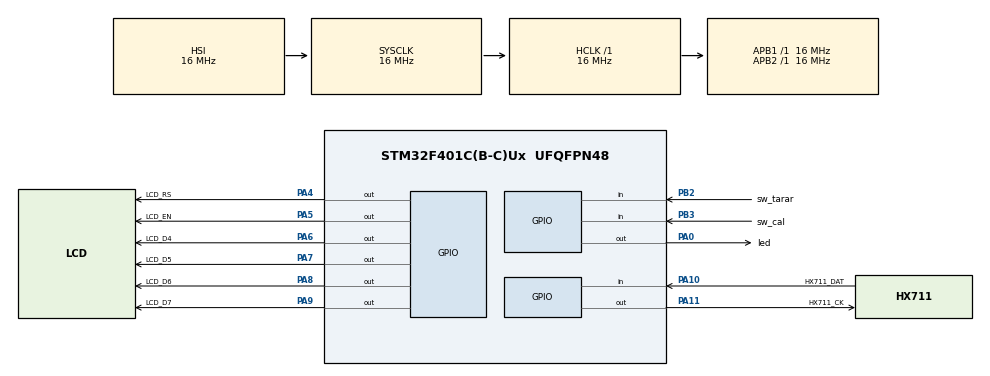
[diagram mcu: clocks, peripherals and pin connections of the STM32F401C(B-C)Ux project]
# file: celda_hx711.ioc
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Mcu.Family=STM32F4
Mcu.Name=STM32F401C(B-C)Ux
Mcu.Package=UFQFPN48
NVIC.PriorityGroup=NVIC_PRIORITYGROUP_4
PA0-WKUP.GPIO_Label=led
PA0-WKUP.Signal=GPIO_Output
PA10.GPIO_Label=HX711_DAT
PA10.GPIO_PuPd=GPIO_PULLUP
PA10.Signal=GPIO_Input
PA11.GPIO_Label=HX711_CK
PA11.Signal=GPIO_Output
PA4.GPIO_Label=LCD_RS
PA4.Signal=GPIO_Output
PA5.GPIO_Label=LCD_EN
PA5.Signal=GPIO_Output
PA6.GPIO_Label=LCD_D4
PA6.Signal=GPIO_Output
PA7.GPIO_Label=LCD_D5
PA7.Signal=GPIO_Output
PA8.GPIO_Label=LCD_D6
PA8.Signal=GPIO_Output
PA9.GPIO_Label=LCD_D7
PA9.Signal=GPIO_Output
PB2.GPIO_Label=sw_tarar
PB2.GPIO_PuPd=GPIO_PULLUP
PB2.Signal=GPIO_Input
PB3.GPIO_Label=sw_cal
PB3.GPIO_PuPd=GPIO_PULLUP
PB3.Signal=GPIO_Input
ProjectManager.HeapSize=0x200
ProjectManager.StackSize=0x400
ProjectManager.TargetToolchain=STM32CubeIDE
RCC.AHBFreq_Value=16000000
RCC.APB1Freq_Value=16000000
RCC.APB2Freq_Value=16000000
RCC.CortexFreq_Value=16000000
RCC.HSE_VALUE=25000000
RCC.HSI_VALUE=16000000
RCC.LSE_VALUE=32768
RCC.SYSCLKFreq_VALUE=16000000
RCC.VCOOutputFreq_Value=192000000
board=custom

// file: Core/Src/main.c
/* USER CODE BEGIN Header */
/**
  ******************************************************************************
  * @file           : main.c
  * @brief          : Main program body
  ******************************************************************************
  * @attention
  *
  * Copyright (c) 2023 STMicroelectronics.
  * All rights reserved.
  *
  * This software is licensed under terms that can be found in the LICENSE file
  * in the root directory of this software component.
  * If no LICENSE file comes with this software, it is provided AS-IS.
  *
  ******************************************************************************
  */
/* USER CODE END Header */
#include "main.h"

#include "lcd.h"
#include "HX711.h"

#include "stdio.h"
#include "string.h"

/* USER CODE BEGIN PV */
const float offset_manual=83877.0;  //offset, valor leido a 0
const float calibra=419387 - offset_manual;  // valor a la calobtracion menos el offset
//Cabiar este valor  importante al epso conocido
const float prueba=1000.0;  //  peso de prueba para calibración    gramos

float factor=prueba/calibra; //factor de multiplicativo a lectura base    debe colocarse aqui

int32_t offset=offset_manual;// carga el offset manual al offset a usar
int32_t celda=0;
float peso,cal;

char texto[50];

/* USER CODE END PV */

void SystemClock_Config(void);
static void MX_GPIO_Init(void);

int main(void)
{

  /* MCU Configuration--------------------------------------------------------*/

  /* Reset of all peripherals, Initializes the Flash interface and the Systick. */
  HAL_Init();

  /* Configure the system clock */
  SystemClock_Config();

  /* Initialize all configured peripherals */
  MX_GPIO_Init();
  /* USER CODE BEGIN 2 */
    HX711_init();  //inicia
	 HX_tarar(50,128);  //Tara el sistema automatico numero de datos, a que ganancia

    Lcd_Init();
      Lcd_Cmd(_LCD_CLEAR);
      Lcd_Cmd(_LCD_CURSOR_OFF);

      Lcd_Text(2,1,"PESO=");
       Lcd_Text(1, 1, "Offset=");
     sprintf(texto,"%.lf",(float)offset);
     Lcd_Text(1, 8,"       ");//borra
     Lcd_Text(1, 8,texto);

  /* USER CODE END 2 */

  /* Infinite loop */
  /* USER CODE BEGIN WHILE */
  while (1)
  {

		  peso=HX711_promedio(10,128)-offset;
		   peso=peso*factor;
		   if (peso<=0) peso=0;
	       sprintf(texto,"%.1f",peso);
	        Lcd_Text(2,7,"          ");//Borra
	        Lcd_Text(2,7,texto);//muestra el peso

	  //Titila led
		  HAL_GPIO_TogglePin(led_GPIO_Port, led_Pin);
	       HAL_Delay(100);

	         if(sw_tarar==0)
	            {
	             HAL_GPIO_WritePin(led_GPIO_Port, led_Pin, 0);
	             HAL_Delay(300);
	             HX_tarar(10,128);  //numero de datos, a que ganancia
	             sprintf(texto,"%.1f",(float)offset);
	             Lcd_Text(1,8,"       ");
	             Lcd_Text(1,8,texto);//muestra el offset

	            }

	           if (sw_cal==0)
	                  {
	                   HAL_GPIO_WritePin(led_GPIO_Port, led_Pin, 0);
	                  cal=HX711_promedio(50,128)-offset;
	                  factor= prueba/cal;

	                  }

    /* USER CODE END WHILE */

  }
}

void SystemClock_Config(void)
{
  RCC_OscInitTypeDef RCC_OscInitStruct = {0};
  RCC_ClkInitTypeDef RCC_ClkInitStruct = {0};

  /** Configure the main internal regulator output voltage
  */
  __HAL_RCC_PWR_CLK_ENABLE();
  __HAL_PWR_VOLTAGESCALING_CONFIG(PWR_REGULATOR_VOLTAGE_SCALE2);

  /** Initializes the RCC Oscillators according to the specified parameters
  * in the RCC_OscInitTypeDef structure.
  */
  RCC_OscInitStruct.OscillatorType = RCC_OSCILLATORTYPE_HSI;
  RCC_OscInitStruct.HSIState = RCC_HSI_ON;
  RCC_OscInitStruct.HSICalibrationValue = RCC_HSICALIBRATION_DEFAULT;
  RCC_OscInitStruct.PLL.PLLState = RCC_PLL_NONE;
  if (HAL_RCC_OscConfig(&RCC_OscInitStruct) != HAL_OK)
  {
    Error_Handler();
  }

  /** Initializes the CPU, AHB and APB buses clocks
  */
  RCC_ClkInitStruct.ClockType = RCC_CLOCKTYPE_HCLK|RCC_CLOCKTYPE_SYSCLK
                              |RCC_CLOCKTYPE_PCLK1|RCC_CLOCKTYPE_PCLK2;
  RCC_ClkInitStruct.SYSCLKSource = RCC_SYSCLKSOURCE_HSI;
  RCC_ClkInitStruct.AHBCLKDivider = RCC_SYSCLK_DIV1;
  RCC_ClkInitStruct.APB1CLKDivider = RCC_HCLK_DIV1;
  RCC_ClkInitStruct.APB2CLKDivider = RCC_HCLK_DIV1;

  if (HAL_RCC_ClockConfig(&RCC_ClkInitStruct, FLASH_LATENCY_0) != HAL_OK)
  {
    Error_Handler();
  }
}

static void MX_GPIO_Init(void)
{
  GPIO_InitTypeDef GPIO_InitStruct = {0};

  /* GPIO Ports Clock Enable */
  __HAL_RCC_GPIOA_CLK_ENABLE();
  __HAL_RCC_GPIOB_CLK_ENABLE();

  /*Configure GPIO pin Output Level */
  HAL_GPIO_WritePin(GPIOA, led_Pin|LCD_RS_Pin|LCD_EN_Pin|LCD_D4_Pin
                          |LCD_D5_Pin|LCD_D6_Pin|LCD_D7_Pin|HX711_CK_Pin, GPIO_PIN_RESET);

  /*Configure GPIO pins : led_Pin LCD_RS_Pin LCD_EN_Pin LCD_D4_Pin
                           LCD_D5_Pin LCD_D6_Pin LCD_D7_Pin HX711_CK_Pin */
  GPIO_InitStruct.Pin = led_Pin|LCD_RS_Pin|LCD_EN_Pin|LCD_D4_Pin
                          |LCD_D5_Pin|LCD_D6_Pin|LCD_D7_Pin|HX711_CK_Pin;
  GPIO_InitStruct.Mode = GPIO_MODE_OUTPUT_PP;
  GPIO_InitStruct.Pull = GPIO_NOPULL;
  GPIO_InitStruct.Speed = GPIO_SPEED_FREQ_LOW;
  HAL_GPIO_Init(GPIOA, &GPIO_InitStruct);

  /*Configure GPIO pins : sw_tarar_Pin sw_cal_Pin */
  GPIO_InitStruct.Pin = sw_tarar_Pin|sw_cal_Pin;
  GPIO_InitStruct.Mode = GPIO_MODE_INPUT;
  GPIO_InitStruct.Pull = GPIO_PULLUP;
  HAL_GPIO_Init(GPIOB, &GPIO_InitStruct);

  /*Configure GPIO pin : HX711_DAT_Pin */
  GPIO_InitStruct.Pin = HX711_DAT_Pin;
  GPIO_InitStruct.Mode = GPIO_MODE_INPUT;
  GPIO_InitStruct.Pull = GPIO_PULLUP;
  HAL_GPIO_Init(HX711_DAT_GPIO_Port, &GPIO_InitStruct);

}

void Error_Handler(void)
{
  __disable_irq();
  while (1)
  {
  }
}
